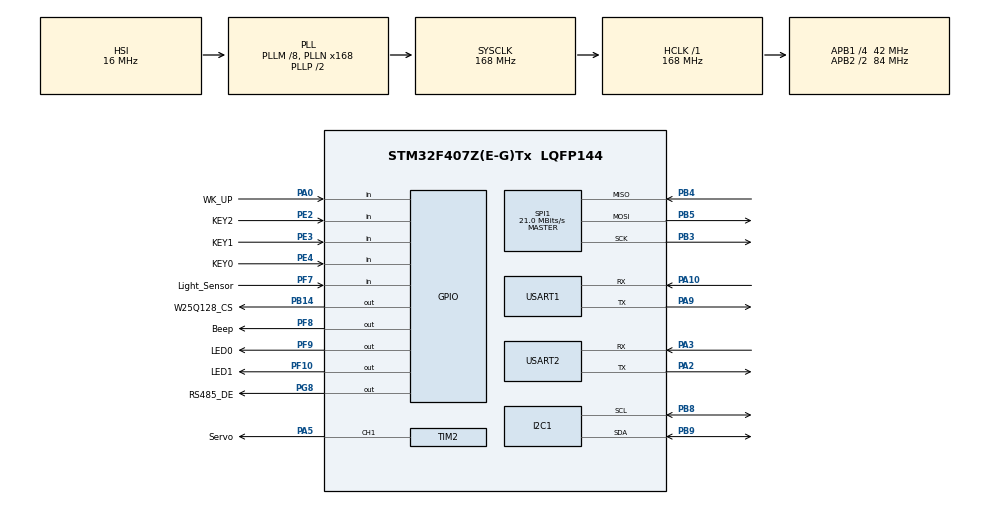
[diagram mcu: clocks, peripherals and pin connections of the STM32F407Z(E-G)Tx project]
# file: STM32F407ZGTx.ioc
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Mcu.Family=STM32F4
Mcu.Name=STM32F407Z(E-G)Tx
Mcu.Package=LQFP144
NVIC.I2C1_ER_IRQn=true\:0\:0\:false\:false\:true\:true\:true\:true
NVIC.I2C1_EV_IRQn=true\:0\:0\:false\:false\:true\:true\:true\:true
NVIC.PriorityGroup=NVIC_PRIORITYGROUP_4
NVIC.TIM7_IRQn=true\:0\:0\:false\:false\:true\:true\:true\:true
NVIC.USART2_IRQn=true\:0\:0\:false\:false\:true\:true\:true\:true
PA0-WKUP.GPIO_Label=WK_UP
PA0-WKUP.GPIO_PuPd=GPIO_PULLDOWN
PA0-WKUP.Signal=GPIO_Input
PA10.Mode=Asynchronous
PA10.Signal=USART1_RX
PA2.Mode=Asynchronous
PA2.Signal=USART2_TX
PA3.Mode=Asynchronous
PA3.Signal=USART2_RX
PA5.GPIO_Label=Servo
PA5.Signal=S_TIM2_CH1_ETR
PA9.Mode=Asynchronous
PA9.Signal=USART1_TX
PB14.GPIO_Label=W25Q128_CS
PB14.GPIO_PuPd=GPIO_PULLUP
PB14.GPIO_Speed=GPIO_SPEED_FREQ_HIGH
PB14.PinState=GPIO_PIN_SET
PB14.Signal=GPIO_Output
PB3.Mode=Full_Duplex_Master
PB3.Signal=SPI1_SCK
PB4.Mode=Full_Duplex_Master
PB4.Signal=SPI1_MISO
PB5.Mode=Full_Duplex_Master
PB5.Signal=SPI1_MOSI
PB8.Mode=I2C
PB8.Signal=I2C1_SCL
PB9.Mode=I2C
PB9.Signal=I2C1_SDA
PC14-OSC32_IN.Mode=LSE-External-Oscillator
PC14-OSC32_IN.Signal=RCC_OSC32_IN
PC15-OSC32_OUT.Mode=LSE-External-Oscillator
PC15-OSC32_OUT.Signal=RCC_OSC32_OUT
PE2.GPIO_Label=KEY2
PE2.GPIO_PuPd=GPIO_PULLUP
PE2.Signal=GPIO_Input
PE3.GPIO_Label=KEY1
PE3.GPIO_PuPd=GPIO_PULLUP
PE3.Signal=GPIO_Input
PE4.GPIO_Label=KEY0
PE4.GPIO_PuPd=GPIO_PULLUP
PE4.Signal=GPIO_Input
PF10.GPIO_Label=LED1
PF10.PinState=GPIO_PIN_SET
PF10.Signal=GPIO_Output
PF7.GPIO_Label=Light_Sensor
PF7.Signal=GPIO_Input
PF8.GPIO_Label=Beep
PF8.Signal=GPIO_Output
PF9.GPIO_Label=LED0
PF9.GPIO_Speed=GPIO_SPEED_FREQ_MEDIUM
PF9.PinState=GPIO_PIN_SET
PF9.Signal=GPIO_Output
PG8.GPIO_Label=RS485_DE
PG8.Signal=GPIO_Output
PH0-OSC_IN.Mode=HSE-External-Oscillator
PH0-OSC_IN.Signal=RCC_OSC_IN
PH1-OSC_OUT.Mode=HSE-External-Oscillator
PH1-OSC_OUT.Signal=RCC_OSC_OUT
ProjectManager.HeapSize=0x200
ProjectManager.StackSize=0x400
ProjectManager.TargetToolchain=STM32CubeIDE
RCC.48MHZClocksFreq_Value=84000000
RCC.AHBFreq_Value=168000000
RCC.APB1CLKDivider=RCC_HCLK_DIV4
RCC.APB1Freq_Value=42000000
RCC.APB1TimFreq_Value=84000000
RCC.APB2CLKDivider=RCC_HCLK_DIV2
RCC.APB2Freq_Value=84000000
RCC.APB2TimFreq_Value=168000000
RCC.CortexFreq_Value=168000000
RCC.HCLKFreq_Value=168000000
RCC.HSE_VALUE=25000000
RCC.HSI_VALUE=16000000
RCC.PLLM=8
RCC.PLLN=168
RCC.SYSCLKFreq_VALUE=168000000
RCC.SYSCLKSource=RCC_SYSCLKSOURCE_PLLCLK
RCC.VCOOutputFreq_Value=336000000
SH.S_TIM2_CH1_ETR.0=TIM2_CH1,PWM Generation1 CH1
SPI1.BaudRatePrescaler=SPI_BAUDRATEPRESCALER_4
SPI1.CalculateBaudRate=21.0 MBits/s
SPI1.Direction=SPI_DIRECTION_2LINES
SPI1.Mode=SPI_MODE_MASTER
SPI1.VirtualType=VM_MASTER
TIM2.AutoReloadPreload=TIM_AUTORELOAD_PRELOAD_ENABLE
TIM2.Channel-PWM\ Generation1\ CH1=TIM_CHANNEL_1
TIM2.OCFastMode_PWM-PWM\ Generation1\ CH1=TIM_OCFAST_DISABLE
TIM2.Period=19999
TIM2.Prescaler=87
TIM2.Pulse-PWM\ Generation1\ CH1=1500
TIM2.TIM_MasterOutputTrigger=TIM_TRGO_UPDATE
TIM7.AutoReloadPreload=TIM_AUTORELOAD_PRELOAD_ENABLE
TIM7.Period=49
TIM7.Prescaler=83-1
USART1.Parity=PARITY_NONE
USART1.VirtualMode=VM_ASYNC
USART2.Parity=PARITY_EVEN
USART2.VirtualMode=VM_ASYNC
USART2.WordLength=WORDLENGTH_9B
VP_TIM2_VS_ClockSourceINT.Mode=Internal
VP_TIM7_VS_ClockSourceINT.Mode=Enable_Timer
board=custom

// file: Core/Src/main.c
/* USER CODE BEGIN Header */
/**
  ******************************************************************************
  * @file           : main.c
  * @brief          : Main program body
  ******************************************************************************
  * @attention
  *
  * Copyright (c) 2026 STMicroelectronics.
  * All rights reserved.
  *
  * This software is licensed under terms that can be found in the LICENSE file
  * in the root directory of this software component.
  * If no LICENSE file comes with this software, it is provided AS-IS.
  *
  ******************************************************************************
  */
/* USER CODE END Header */
#include "main.h"
#include "i2c.h"
#include "spi.h"
#include "tim.h"
#include "usart.h"
#include "gpio.h"

/* USER CODE BEGIN Includes */
#include "mb.h"
#include "Inc/Command.h"
/* USER CODE END Includes */

/* USER CODE BEGIN PTD */
HoldingREG *const HOLDINGREG = (HoldingREG *)&REG_HOLD_BUF[0];
InputREG *const INPUTREG = (InputREG *)&REG_INPUT_BUF[0];
/* USER CODE END PTD */

void SystemClock_Config(void);

int main(void)
{

  /* MCU Configuration--------------------------------------------------------*/

  /* Reset of all peripherals, Initializes the Flash interface and the Systick. */
  HAL_Init();

  /* Configure the system clock */
  SystemClock_Config();

  /* Initialize all configured peripherals */
  MX_GPIO_Init();
  MX_TIM2_Init();
  MX_USART1_UART_Init();
  MX_I2C1_Init();
  MX_USART2_UART_Init();
  MX_TIM7_Init();
  MX_SPI1_Init();
  /* USER CODE BEGIN 2 */

  /* 先加载配置（含波特率），失败时内部会回退默认 115200 */
  APP_Config_Init();

  /* 按配置设置 USART2 波特率 */
  uint32_t baud = APP_Config_GetBaudRate();
  User_UART2_Init(baud);

  /* Modbus初始化必须在所有外设初始化完成之后：
   * xMBPortSerialInit会操作huart2，xMBPortTimersInit会操作htim7，
   * 放在MX_xxx_Init()之前会因为Instance为NULL直接HardFault */
  eMBInit(MB_RTU, 0x01, 0x01, baud, MB_PAR_EVEN, 1);
  eMBEnable();

  User_Init();

  /* USER CODE END 2 */

  /* Infinite loop */
  /* USER CODE BEGIN WHILE */
  while (1)
  {
	  eMBPoll();
	  Modbus_BaudApply();
    /* USER CODE END WHILE */

    /* USER CODE BEGIN 3 */
	  Command_KeyProcess();

	  if(HOLDINGREG->W25Q128_Status == 0)
	  {
		  W25Q128_PowerWriteTest();
		  HOLDINGREG->W25Q128_Status = 1;

	  }
	  else if(HOLDINGREG->W25Q128_Status == 1)
	  {
		  W25Q128_PowerReadTest();
		  HOLDINGREG->W25Q128_Status = 2;
	  }

//	  Bsp_ST480MC_CollectTask();
  }
  /* USER CODE END 3 */
}

void SystemClock_Config(void)
{
  RCC_OscInitTypeDef RCC_OscInitStruct = {0};
  RCC_ClkInitTypeDef RCC_ClkInitStruct = {0};

  /** Configure the main internal regulator output voltage
  */
  __HAL_RCC_PWR_CLK_ENABLE();
  __HAL_PWR_VOLTAGESCALING_CONFIG(PWR_REGULATOR_VOLTAGE_SCALE1);

  /** Initializes the RCC Oscillators according to the specified parameters
  * in the RCC_OscInitTypeDef structure.
  */
  RCC_OscInitStruct.OscillatorType = RCC_OSCILLATORTYPE_HSI;
  RCC_OscInitStruct.HSIState = RCC_HSI_ON;
  RCC_OscInitStruct.HSICalibrationValue = RCC_HSICALIBRATION_DEFAULT;
  RCC_OscInitStruct.PLL.PLLState = RCC_PLL_ON;
  RCC_OscInitStruct.PLL.PLLSource = RCC_PLLSOURCE_HSI;
  RCC_OscInitStruct.PLL.PLLM = 8;
  RCC_OscInitStruct.PLL.PLLN = 168;
  RCC_OscInitStruct.PLL.PLLP = RCC_PLLP_DIV2;
  RCC_OscInitStruct.PLL.PLLQ = 4;
  if (HAL_RCC_OscConfig(&RCC_OscInitStruct) != HAL_OK)
  {
    Error_Handler();
  }

  /** Initializes the CPU, AHB and APB buses clocks
  */
  RCC_ClkInitStruct.ClockType = RCC_CLOCKTYPE_HCLK|RCC_CLOCKTYPE_SYSCLK
                              |RCC_CLOCKTYPE_PCLK1|RCC_CLOCKTYPE_PCLK2;
  RCC_ClkInitStruct.SYSCLKSource = RCC_SYSCLKSOURCE_PLLCLK;
  RCC_ClkInitStruct.AHBCLKDivider = RCC_SYSCLK_DIV1;
  RCC_ClkInitStruct.APB1CLKDivider = RCC_HCLK_DIV4;
  RCC_ClkInitStruct.APB2CLKDivider = RCC_HCLK_DIV2;

  if (HAL_RCC_ClockConfig(&RCC_ClkInitStruct, FLASH_LATENCY_5) != HAL_OK)
  {
    Error_Handler();
  }
}

void Error_Handler(void)
{
  __disable_irq();
  while (1)
  {
  }
}
